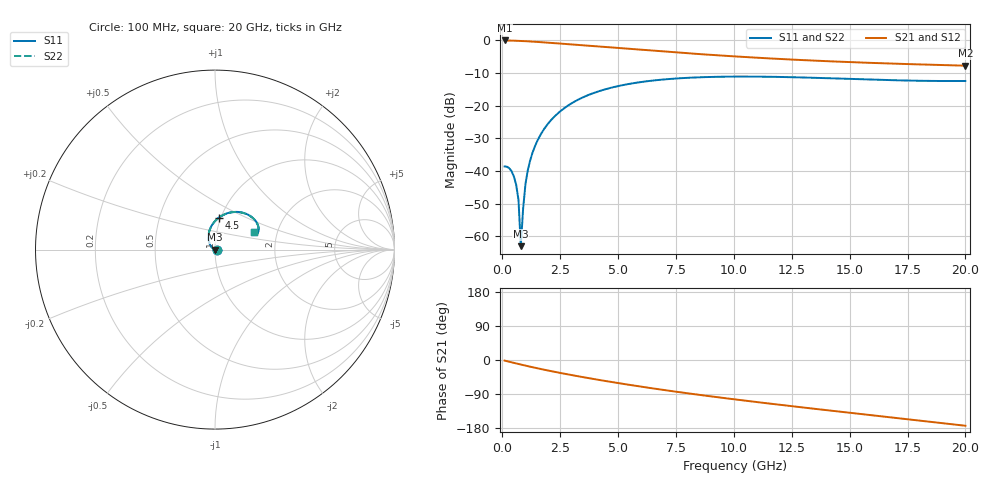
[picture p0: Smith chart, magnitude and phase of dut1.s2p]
! Touchstone file exported from HFSS 2023.1.0
!  File:  D:/Users/fzz/RDL_TSV/temp_RDL_TSV_1_1778742338.aedt
!  Generated:  3:14:39 %x4E0B%x5348  5%x6708 14, 2026
!  Design:  RDL_TSV
!  Project:  temp_RDL_TSV_1_1778742338
!  Setup:  Setup1
!  Solution:  Sweep
! Variables:
!  dtsv = 11.92um
!  hbump = 3um
!  htsv = 60.97um
!  ldown = 517.38um
!  lrdl = 246.17um
!  p = 40
!  p1 = 44.59um
!  rhole = 10um
!  subl = 2536.82um
!  t = 450um
!  tdown = 4.41um
!  trdl = 3.69um
!  viad = 10um
!  wdown = 16.75um
!  wrdl = 25.58um
!  xbump = 18um
# GHz S MA R 50.000000
! Terminal data exported
! Port[1] = TM1_1_T1
! Port[2] = TM1_4_T1
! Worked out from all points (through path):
!   200 points, 100 MHz to 20 GHz, reference 50 ohm
!   highest |S21| = -0.11 dB at 100 MHz (marker M1); lowest = -7.8 dB at 20 GHz (marker M2)
!   group delay of S21, straight-line fit = 22.8 ps
!   lowest |S11| = -63.0 dB at 800 MHz (marker M3), VSWR 1.00, Z = 50.1 - j0.0502 ohm
!   |S11| at or under -10 dB: start of sweep to end of sweep
!   |S22| runs from -62.8 to -11.2 dB; largest |S21 - S12| = 8.4e-15
!   S11 on the Smith chart (normalised r, x): 100 MHz: 1.02, -0.00; 4.5 GHz: 0.98, +0.36; 20 GHz: 1.52, +0.31
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0.1  0.01174 -0.0  0.9878 -1.6  0.9878 -1.6  0.01174 -0.0
! Gamma 0 0 0 0
! Port Impedance 50 0 50 0
0.3  0.01104 -4.3  0.9846 -4.6  0.9846 -4.6  0.01104 -4.3
0.4  0.009917 -7.7  0.9824 -6.1  0.9824 -6.1  0.009922 -7.7
0.5  0.008269 -11.5  0.9799 -7.6  0.9799 -7.6  0.008277 -11.5
0.6  0.006146 -15.7  0.9771 -9.1  0.9771 -9.1  0.006157 -15.7
0.7  0.003597 -21.1  0.9739 -10.5  0.9739 -10.5  0.003612 -21.0
0.8  0.0007095 -45.0  0.9704 -12.0  0.9704 -12.0  0.000726 -43.8
0.9  0.002675 163.9  0.9667 -13.4  0.9667 -13.4  0.002647 163.8
1  0.006285 157.1  0.9626 -14.8  0.9626 -14.8  0.006251 157.0
1.1  0.01019 153.0  0.9583 -16.2  0.9583 -16.2  0.01015 153.0
1.2  0.01437 149.6  0.9537 -17.6  0.9537 -17.6  0.01432 149.5
1.4  0.0234 143.5  0.9441 -20.3  0.9441 -20.3  0.02333 143.5
1.7  0.03825 135.4  0.9287 -24.3  0.9287 -24.3  0.03815 135.3
2.2  0.06502 123.3  0.9016 -30.5  0.9016 -30.5  0.06487 123.2
2.8  0.09787 110.7  0.8689 -37.6  0.8689 -37.6  0.09763 110.7
3.5  0.1343 98.2  0.8316 -45.4  0.8316 -45.4  0.1339 98.1
4.5  0.1793 83.2  0.7809 -55.9  0.7809 -55.9  0.1788 83.2
6.8  0.2472 58.0  0.6764 -77.6  0.6764 -77.6  0.2464 57.9
10.1  0.2771 35.6  0.5619 -104.4  0.5619 -104.4  0.2761 35.5
13.4  0.2661 23.9  0.487 -128.2  0.487 -128.2  0.265 23.7
16.7  0.2448 20.7  0.4392 -150.9  0.4392 -150.9  0.2436 20.6
20  0.2375 24.0  0.4069 -173.5  0.4069 -173.5  0.2363 24.0
